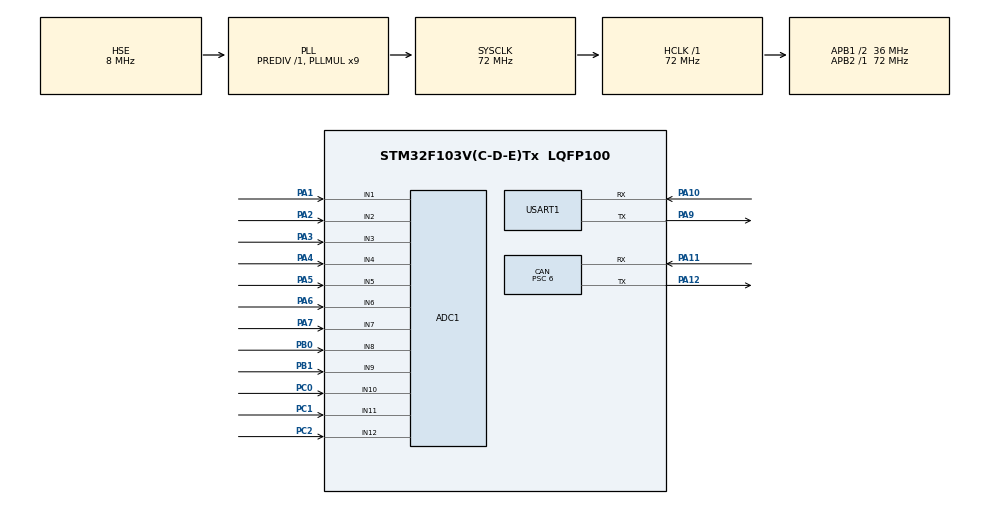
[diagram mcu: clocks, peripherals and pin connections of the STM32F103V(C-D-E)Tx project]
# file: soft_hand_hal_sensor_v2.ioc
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ADC1.Channel-1\#ChannelRegularConversion=ADC_CHANNEL_1
ADC1.Channel-10\#ChannelRegularConversion=ADC_CHANNEL_10
ADC1.Channel-11\#ChannelRegularConversion=ADC_CHANNEL_11
ADC1.Channel-12\#ChannelRegularConversion=ADC_CHANNEL_12
ADC1.Channel-2\#ChannelRegularConversion=ADC_CHANNEL_2
ADC1.Channel-3\#ChannelRegularConversion=ADC_CHANNEL_3
ADC1.Channel-4\#ChannelRegularConversion=ADC_CHANNEL_4
ADC1.Channel-5\#ChannelRegularConversion=ADC_CHANNEL_5
ADC1.Channel-6\#ChannelRegularConversion=ADC_CHANNEL_6
ADC1.Channel-7\#ChannelRegularConversion=ADC_CHANNEL_7
ADC1.Channel-8\#ChannelRegularConversion=ADC_CHANNEL_8
ADC1.Channel-9\#ChannelRegularConversion=ADC_CHANNEL_9
ADC1.DiscontinuousConvMode=ENABLE
ADC1.NbrOfConversion=12
ADC1.NbrOfConversionFlag=1
ADC1.Rank-1\#ChannelRegularConversion=1
ADC1.Rank-10\#ChannelRegularConversion=10
ADC1.Rank-11\#ChannelRegularConversion=11
ADC1.Rank-12\#ChannelRegularConversion=12
ADC1.Rank-2\#ChannelRegularConversion=2
ADC1.Rank-3\#ChannelRegularConversion=3
ADC1.Rank-4\#ChannelRegularConversion=4
ADC1.Rank-5\#ChannelRegularConversion=5
ADC1.Rank-6\#ChannelRegularConversion=6
ADC1.Rank-7\#ChannelRegularConversion=7
ADC1.Rank-8\#ChannelRegularConversion=8
ADC1.Rank-9\#ChannelRegularConversion=9
ADC1.SamplingTime-1\#ChannelRegularConversion=ADC_SAMPLETIME_1CYCLE_5
ADC1.SamplingTime-10\#ChannelRegularConversion=ADC_SAMPLETIME_1CYCLE_5
ADC1.SamplingTime-11\#ChannelRegularConversion=ADC_SAMPLETIME_1CYCLE_5
ADC1.SamplingTime-12\#ChannelRegularConversion=ADC_SAMPLETIME_1CYCLE_5
ADC1.SamplingTime-2\#ChannelRegularConversion=ADC_SAMPLETIME_1CYCLE_5
ADC1.SamplingTime-3\#ChannelRegularConversion=ADC_SAMPLETIME_1CYCLE_5
ADC1.SamplingTime-4\#ChannelRegularConversion=ADC_SAMPLETIME_1CYCLE_5
ADC1.SamplingTime-5\#ChannelRegularConversion=ADC_SAMPLETIME_1CYCLE_5
ADC1.SamplingTime-6\#ChannelRegularConversion=ADC_SAMPLETIME_1CYCLE_5
ADC1.SamplingTime-7\#ChannelRegularConversion=ADC_SAMPLETIME_1CYCLE_5
ADC1.SamplingTime-8\#ChannelRegularConversion=ADC_SAMPLETIME_1CYCLE_5
ADC1.SamplingTime-9\#ChannelRegularConversion=ADC_SAMPLETIME_1CYCLE_5
ADC1.master=1
CAN.BS1=CAN_BS1_3TQ
CAN.BS2=CAN_BS2_2TQ
CAN.CalculateBaudRate=999999
CAN.CalculateTimeBit=1000
CAN.CalculateTimeQuantum=166.66666666666669
CAN.Prescaler=6
Mcu.Family=STM32F1
Mcu.Name=STM32F103V(C-D-E)Tx
Mcu.Package=LQFP100
NVIC.PriorityGroup=NVIC_PRIORITYGROUP_4
OSC_IN.Mode=HSE-External-Oscillator
OSC_IN.Signal=RCC_OSC_IN
OSC_OUT.Mode=HSE-External-Oscillator
OSC_OUT.Signal=RCC_OSC_OUT
PA1.Signal=ADCx_IN1
PA10.Mode=Asynchronous
PA10.Signal=USART1_RX
PA11.Mode=CAN_Activate
PA11.Signal=CAN_RX
PA12.Mode=CAN_Activate
PA12.Signal=CAN_TX
PA13.Mode=Serial_Wire
PA13.Signal=SYS_JTMS-SWDIO
PA14.Mode=Serial_Wire
PA14.Signal=SYS_JTCK-SWCLK
PA2.Signal=ADCx_IN2
PA3.Signal=ADCx_IN3
PA4.Signal=ADCx_IN4
PA5.Signal=ADCx_IN5
PA6.Signal=ADCx_IN6
PA7.Signal=ADCx_IN7
PA9.Mode=Asynchronous
PA9.Signal=USART1_TX
PB0.Signal=ADCx_IN8
PB1.Signal=ADCx_IN9
PC0.Signal=ADCx_IN10
PC1.Signal=ADCx_IN11
PC2.Signal=ADCx_IN12
ProjectManager.HeapSize=0x200
ProjectManager.StackSize=0x400
ProjectManager.TargetToolchain=STM32CubeIDE
RCC.ADCPresc=RCC_ADCPCLK2_DIV6
RCC.AHBFreq_Value=72000000
RCC.APB1CLKDivider=RCC_HCLK_DIV2
RCC.APB1Freq_Value=36000000
RCC.APB1TimFreq_Value=72000000
RCC.APB2Freq_Value=72000000
RCC.APB2TimFreq_Value=72000000
RCC.HCLKFreq_Value=72000000
RCC.PLLMUL=RCC_PLL_MUL9
RCC.PLLSourceVirtual=RCC_PLLSOURCE_HSE
RCC.SYSCLKFreq_VALUE=72000000
RCC.SYSCLKSource=RCC_SYSCLKSOURCE_PLLCLK
RCC.USBFreq_Value=72000000
SH.ADCx_IN1.0=ADC1_IN1,IN1
SH.ADCx_IN10.0=ADC1_IN10,IN10
SH.ADCx_IN11.0=ADC1_IN11,IN11
SH.ADCx_IN12.0=ADC1_IN12,IN12
SH.ADCx_IN2.0=ADC1_IN2,IN2
SH.ADCx_IN3.0=ADC1_IN3,IN3
SH.ADCx_IN4.0=ADC1_IN4,IN4
SH.ADCx_IN5.0=ADC1_IN5,IN5
SH.ADCx_IN6.0=ADC1_IN6,IN6
SH.ADCx_IN7.0=ADC1_IN7,IN7
SH.ADCx_IN8.0=ADC1_IN8,IN8
SH.ADCx_IN9.0=ADC1_IN9,IN9
USART1.VirtualMode=VM_ASYNC
board=custom

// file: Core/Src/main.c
/* USER CODE BEGIN Header */
/**
 ******************************************************************************
 * @file           : main.c
 * @brief          : Main program body
 ******************************************************************************
 * @attention
 *
 * Copyright (c) 2024 STMicroelectronics.
 * All rights reserved.
 *
 * This software is licensed under terms that can be found in the LICENSE file
 * in the root directory of this software component.
 * If no LICENSE file comes with this software, it is provided AS-IS.
 *
 ******************************************************************************
 */
/* USER CODE END Header */
#include "main.h"
#include "adc.h"
#include "can.h"
#include "usart.h"
#include "gpio.h"

/* USER CODE BEGIN PV */
uint16_t adcValue[12];
CAN_RxHeaderTypeDef RxHeader;
uint8_t RxData[8];

/* USER CODE END PV */

void SystemClock_Config(void);

int main(void)
{

  /* MCU Configuration--------------------------------------------------------*/

  /* Reset of asll peripherals, Initializes the Flash interface and the Systick. */
  HAL_Init();
HAL_Delay(1000);

  /* Configure the system clock */
  SystemClock_Config();

  /* Initialize all configured peripherals */
  MX_GPIO_Init();
  MX_ADC1_Init();
  MX_USART1_UART_Init();
  MX_CAN_Init();
  /* USER CODE BEGIN 2 */
    //    HAL_UART_Transmit(&huart1, "init", 4, 4);
    CAN_Init();

//    HAL_UART_Transmit(&huart1, (uint8_t *)"init", 4, 5);

  /* USER CODE END 2 */

  /* Infinite loop */
  /* USER CODE BEGIN WHILE */
    while (1)
    {
        for (int i = 0; i < 12; i++)
        {
            adcValue[i] = get_adc_value();
        }
        for (int i = 0; i < 12; i++)
        {
        	PRESSURE_Send(i, adcValue);
            HAL_Delay(3);
        }
        if (HAL_CAN_GetRxFifoFillLevel(&hcan, CAN_RX_FIFO0) != 1)
        {
        }
        if (HAL_CAN_GetRxMessage(&hcan, CAN_RX_FIFO0, &RxHeader, RxData) == HAL_OK)
        {

            switch (RxHeader.FilterMatchIndex)
            {
            case 0: /*广播*/
#ifdef TEST_MODE
                HAL_UART_Transmit(&huart1, "Bank0Recived", 12, 5);
#endif
                FILTER_MsgProcess(RxData);
                break;
            case 1:
#ifdef TEST_MODE
                HAL_UART_Transmit(&huart1, "Bank1Recived", 12, 5);
#endif
//                PRESSURE_MsgProcess(RxData, adcValue);
                break;
            }
        }
    /* USER CODE END WHILE */

    }
}

void SystemClock_Config(void)
{
  RCC_OscInitTypeDef RCC_OscInitStruct = {0};
  RCC_ClkInitTypeDef RCC_ClkInitStruct = {0};
  RCC_PeriphCLKInitTypeDef PeriphClkInit = {0};

  /** Initializes the RCC Oscillators according to the specified parameters
  * in the RCC_OscInitTypeDef structure.
  */
  RCC_OscInitStruct.OscillatorType = RCC_OSCILLATORTYPE_HSE;
  RCC_OscInitStruct.HSEState = RCC_HSE_ON;
  RCC_OscInitStruct.HSEPredivValue = RCC_HSE_PREDIV_DIV1;
  RCC_OscInitStruct.HSIState = RCC_HSI_ON;
  RCC_OscInitStruct.PLL.PLLState = RCC_PLL_ON;
  RCC_OscInitStruct.PLL.PLLSource = RCC_PLLSOURCE_HSE;
  RCC_OscInitStruct.PLL.PLLMUL = RCC_PLL_MUL9;
  if (HAL_RCC_OscConfig(&RCC_OscInitStruct) != HAL_OK)
  {
    Error_Handler();
  }

  /** Initializes the CPU, AHB and APB buses clocks
  */
  RCC_ClkInitStruct.ClockType = RCC_CLOCKTYPE_HCLK|RCC_CLOCKTYPE_SYSCLK
                              |RCC_CLOCKTYPE_PCLK1|RCC_CLOCKTYPE_PCLK2;
  RCC_ClkInitStruct.SYSCLKSource = RCC_SYSCLKSOURCE_PLLCLK;
  RCC_ClkInitStruct.AHBCLKDivider = RCC_SYSCLK_DIV1;
  RCC_ClkInitStruct.APB1CLKDivider = RCC_HCLK_DIV2;
  RCC_ClkInitStruct.APB2CLKDivider = RCC_HCLK_DIV1;

  if (HAL_RCC_ClockConfig(&RCC_ClkInitStruct, FLASH_LATENCY_2) != HAL_OK)
  {
    Error_Handler();
  }
  PeriphClkInit.PeriphClockSelection = RCC_PERIPHCLK_ADC;
  PeriphClkInit.AdcClockSelection = RCC_ADCPCLK2_DIV6;
  if (HAL_RCCEx_PeriphCLKConfig(&PeriphClkInit) != HAL_OK)
  {
    Error_Handler();
  }
}

void Error_Handler(void)
{
    __disable_irq();
    while (1)
    {
    }
}
